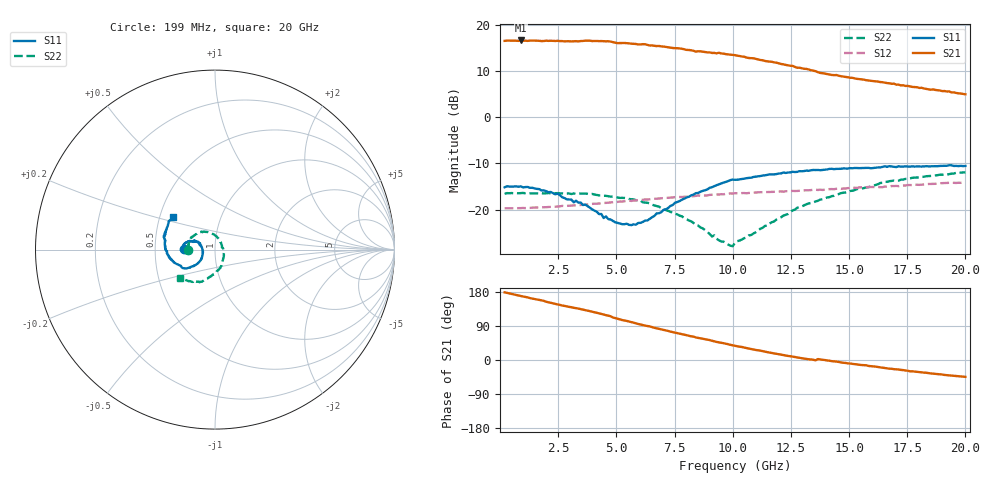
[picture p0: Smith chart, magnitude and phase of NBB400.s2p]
! File: Tecplot touchstone file demo
! Device #: 001
! Frequency points: 201
! Date: 30 Aug 2002
! Time: 07:30:00
# GHZ S DB R 50
!freq dBS11 AngS11 dBS21 AngS21 dBS12 AngS12 dBS21 AngS21
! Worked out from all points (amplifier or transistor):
!   201 points, 199 MHz to 20 GHz, reference 50 ohm
!   highest |S21| = 16.6 dB at 892 MHz (marker M1)
!   |S21| within 3 dB of that: start of sweep to 9.77 GHz
!   unconditionally stable (mu >= 1): start of sweep to end of sweep
!   at 3.466 GHz: K = 1.04, MAG = 16.6 dB, |S12| = -19.0 dB
!   at 10.1 GHz: K = 1.04, MAG = 13.8 dB, |S12| = -16.5 dB
!   at 20 GHz: K = 1.39, MAG = 5.9 dB, |S12| = -14.2 dB
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0.199  -15.17 178.8  16.54 178.5  -19.72 0.3  -16.60 179.8
0.89204  -14.96 172.4  16.63 168.7  -19.68 1.3  -16.43 175.0
1.68408  -15.56 165.9  16.55 158.6  -19.55 2.5  -16.51 170.6
2.47612  -16.52 160.9  16.55 146.5  -19.32 3.4  -16.43 164.5
3.56517  -19.01 157.6  16.52 133.0  -18.94 4.0  -16.53 156.2
4.65423  -22.06 167.3  16.46 117.0  -18.49 3.5  -17.11 144.8
4.75323  -22.14 167.1  16.39 115.4  -18.43 3.7  -17.20 143.9
4.85224  -22.44 168.9  16.26 112.1  -18.39 3.5  -17.20 142.1
5.34726  -23.17 -179.1  16.09 104.3  -18.19 3.0  -17.48 135.9
6.23831  -22.38 -157.1  15.81 90.7  -17.80 1.8  -18.47 123.5
6.83234  -20.79 -144.8  15.44 81.9  -17.60 0.7  -19.37 113.9
8.21841  -16.92 -141.9  14.50 62.4  -17.15 -2.0  -22.55 83.6
9.40647  -14.54 -146.2  13.97 46.7  -16.74 -4.5  -26.64 40.6
10.0995  -13.54 -153.7  13.45 37.3  -16.45 -6.8  -27.17 12.6
11.68358  -12.37 -163.2  12.00 18.4  -16.15 -10.9  -22.73 -53.2
12.97065  -11.71 -171.7  10.61 4.4  -15.89 -13.7  -19.32 -76.1
13.46567  -11.41 -175.5  10.08 0.5  -15.70 -14.8  -18.44 -84.1
13.56468  -11.44 -176.0  9.98 -0.8  -15.69 -15.2  -18.24 -86.0
13.66368  -11.42 -176.2  9.75 2.5  -15.76 -15.6  -18.09 -86.4
14.65373  -11.17 177.4  8.88 -6.5  -15.51 -18.1  -16.45 -98.6
16.73284  -10.59 164.9  7.36 -22.9  -15.05 -23.0  -13.85 -118.5
20  -10.55 142.4  4.97 -44.5  -14.16 -31.4  -11.94 -140.7
